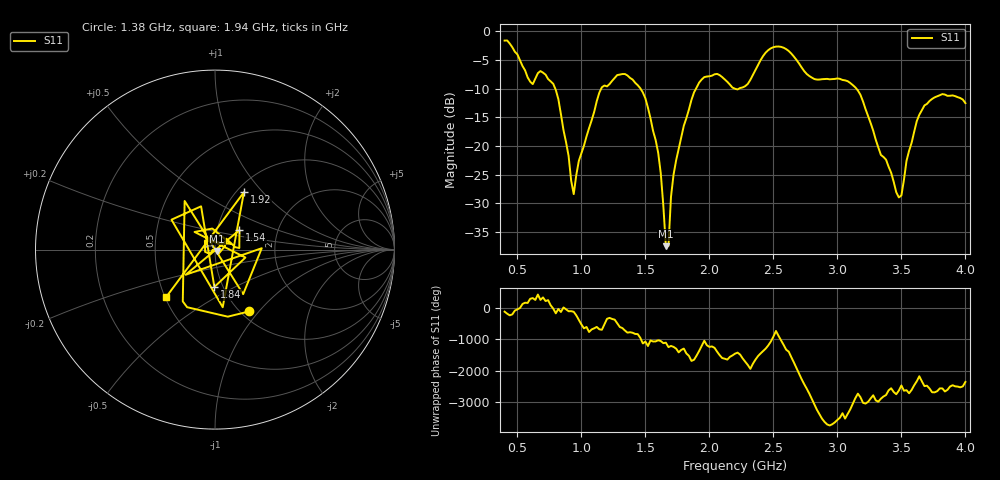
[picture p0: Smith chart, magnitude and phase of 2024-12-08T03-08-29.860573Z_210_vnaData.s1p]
!Created with skrf (http://scikit-rf.org).
# Hz S RI R 50.0
!freq ReS11 ImS11
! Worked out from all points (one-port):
!   181 points, 400 MHz to 4 GHz, reference 50 ohm
!   lowest |S11| = -37.4 dB at 1.66 GHz (marker M1), VSWR 1.03, Z = 51.1 - j0.762 ohm
!   |S11| at or under -10 dB: 796.1 MHz to 1.154 GHz (358.3 MHz wide, 36.7 % of centre); 1.462 GHz to 1.895 GHz (432.6 MHz wide, 25.8 % of centre); 3.149 GHz to end of sweep (the widest 3 of 4)
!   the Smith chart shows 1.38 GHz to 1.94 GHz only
!   S11 on the Smith chart (normalised r, x): 1.38 GHz: 1.09, -0.89; 1.54 GHz: 1.28, +0.29; 1.84 GHz: 0.91, -0.40; 1.92 GHz: 1.08, +0.79; 1.94 GHz: 0.51, -0.31
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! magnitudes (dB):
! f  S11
! 400 MHz  -1.6
! 620 MHz  -9.2
! 680 MHz  -6.9
! 780 MHz  -9.1
! 860 MHz  -17.2
! 940 MHz  -28.4
! 980 MHz  -22.6
! 1.14 GHz  -10.7
! 1.3 GHz  -7.5
! 1.38 GHz  -8.1
! 1.54 GHz  -15.2
! 1.62 GHz  -24.7
! 1.66 GHz  -37.4
! 1.68 GHz  -37.4
! 1.7 GHz  -28.8
! 1.76 GHz  -20.5
! 1.84 GHz  -13.6
! 1.92 GHz  -8.9
! 1.94 GHz  -8.4
! 2.2 GHz  -10.0
! 2.48 GHz  -2.9
! 2.66 GHz  -4.4
! 2.82 GHz  -8.3
! 3.1 GHz  -9.0
! 3.48 GHz  -28.9
! 3.56 GHz  -20.8
! 3.72 GHz  -12.1
! 4 GHz  -12.5
